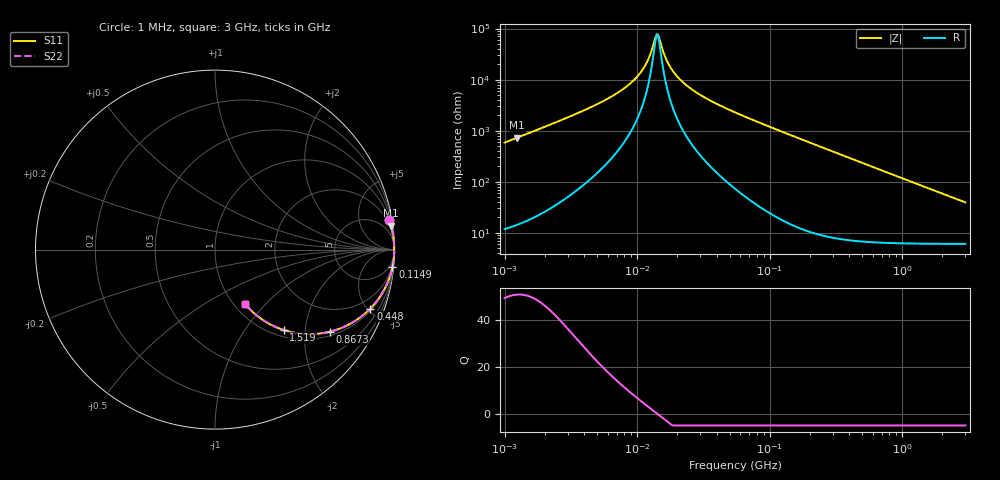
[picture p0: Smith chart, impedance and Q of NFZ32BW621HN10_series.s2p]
! NFZ32BW621HN10
# Hz S RI R 50
!Freq.(Hz) S11(Real) S11(Imag) S21(Real) S21(Imag) S12(Real) S12(Imag) S22(Real) S22(Imag)
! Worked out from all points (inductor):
!   401 points, 1 MHz to 3 GHz, reference 50 ohm
!   read as one part in series: L = 92.4 uH near 1.041 MHz
!   highest Q = 50.9 at 1.246 MHz (marker M1), where L = 93.2 uH
!   self-resonance near 14.04 MHz
!   S11 on the Smith chart (normalised r, x): 1 MHz: 1, +12; 114.9 MHz: 1, -21; 448 MHz: 1.14, -5.22; 867.3 MHz: 1.13, -2.69; 1.519 GHz: 1.12, -1.54; 3 GHz: 1.12, -0.78
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1000000  0.9684 0.1652  0.0316 -0.1652  0.0316 -0.1652  0.9684 0.1652
1246295  0.979 0.1338  0.021 -0.1338  0.021 -0.1338  0.979 0.1338
3823119  0.9968 0.0416  0.00315 -0.0416  0.00315 -0.0416  0.9968 0.0416
6563319  0.9983 0.0206  0.00174 -0.0206  0.00174 -0.0206  0.9983 0.0206
9223615  0.9986 0.0107  0.00141 -0.0107  0.00141 -0.0107  0.9986 0.0107
1.061086e7  0.9987 0.00713  0.00134 -0.00713  0.00134 -0.00713  0.9987 0.00713
1.172775e7  0.9987 0.00463  0.0013 -0.00463  0.0013 -0.00463  0.9987 0.00463
1.37644e7  0.9987 0.000727  0.00128 -0.000727  0.00128 -0.000727  0.9987 0.000727
1.404268e7  0.9987 0.000242  0.00128 -0.000242  0.00128 -0.000242  0.9987 0.000242
1.461624e7  0.9987 -0.000728  0.00128 0.000728  0.00128 0.000728  0.9987 -0.000728
1.615473e7  0.9987 -0.00316  0.00129 0.00316  0.00129 0.00316  0.9987 -0.00316
1.71545e7  0.9987 -0.00464  0.0013 0.00464  0.0013 0.00464  0.9987 -0.00464
2.137957e7  0.9986 -0.0102  0.00139 0.0102  0.00139 0.0102  0.9986 -0.0102
3.065274e7  0.9983 -0.0206  0.00173 0.0206  0.00173 0.0206  0.9983 -0.0206
5.477226e7  0.9967 -0.0435  0.0033 0.0435  0.0033 0.0435  0.9967 -0.0435
1.148668e8  0.9889 -0.0956  0.0111 0.0956  0.0111 0.0956  0.9889 -0.0956
2.094008e8  0.9662 -0.1719  0.0338 0.1719  0.0338 0.1719  0.9662 -0.1719
4.480278e8  0.8655 -0.3282  0.1345 0.3282  0.1345 0.3282  0.8655 -0.3282
8.005644e8  0.6738 -0.4477  0.3262 0.4477  0.3262 0.4477  0.6738 -0.4477
8.672962e8  0.6389 -0.4576  0.3611 0.4576  0.3611 0.4576  0.6389 -0.4576
1.519029e9  0.382 -0.4478  0.618 0.4478  0.618 0.4478  0.382 -0.4478
3e9  0.169 -0.305  0.831 0.305  0.831 0.305  0.169 -0.305
